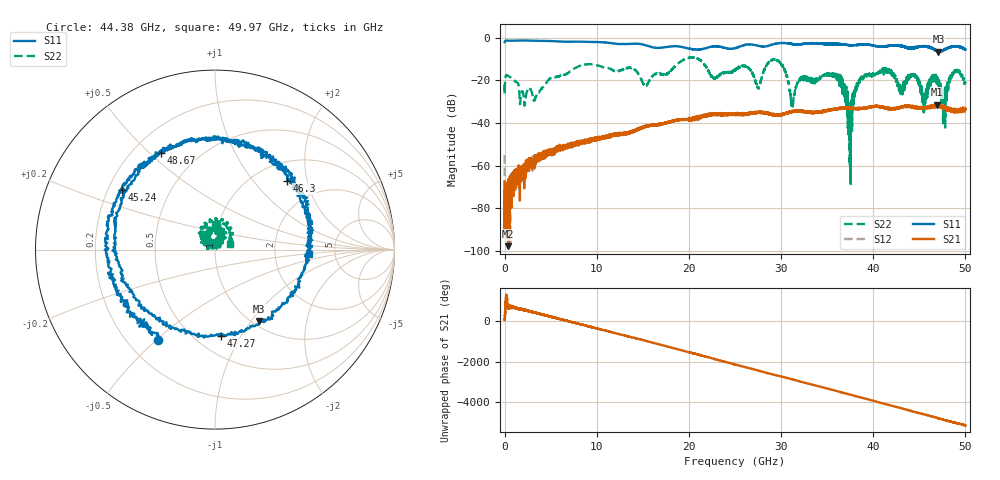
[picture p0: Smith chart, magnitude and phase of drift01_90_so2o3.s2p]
!Created with skrf (http://scikit-rf.org).
# Hz S RI R 50.0
!freq ReS11 ImS11 ReS21 ImS21 ReS12 ImS12 ReS22 ImS22
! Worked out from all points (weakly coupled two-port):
!   10001 points, 300 kHz to 50 GHz, reference 50 ohm
!   highest |S21| = -31.41 dB at 46.94 GHz (marker M1); lowest = -97.8 dB at 400.3 MHz (marker M2)
!   lowest |S11| = -6.6 dB at 47.08 GHz (marker M3), VSWR 2.75, Z = 53.6 - j54.6 ohm
!   |S11| at or under -10 dB: nowhere
!   |S22| runs from -68.7 to -9.2 dB; largest |S21 - S12| = 0.0037
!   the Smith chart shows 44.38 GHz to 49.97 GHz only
!   S11 on the Smith chart (normalised r, x): 44.38 GHz: 0.33, -0.51; 45.24 GHz: 0.26, +0.28; 46.3 GHz: 1.37, +1.52; 47.27 GHz: 0.66, -0.82; 48.67 GHz: 0.31, +0.54; 49.97 GHz: 3.21, -0.24
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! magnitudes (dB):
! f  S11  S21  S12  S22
! 300 kHz  -2.1  -67.5  -55.1  -22.1
! 400.3 MHz  -1.4  -97.8  -70.7  -18.0
! 3.285 GHz  -1.5  -57.3  -55.7  -28.9
! 8.335 GHz  -1.9  -48.8  -48.6  -12.9
! 16.67 GHz  -4.8  -40.7  -40.8  -16.7
! 25 GHz  -5.0  -35.8  -35.9  -15.4
! 29.58 GHz  -2.8  -36.3  -36.5  -10.6
! 31.24 GHz  -3.0  -34.9  -34.8  -31.7
! 33.34 GHz  -2.6  -35.1  -35.2  -19.7
! 36.26 GHz  -3.0  -33.4  -33.4  -18.7
! 37.47 GHz  -3.6  -33.0  -33.0  -33.3
! 38.65 GHz  -3.3  -33.2  -33.2  -19.9
! 41.67 GHz  -3.9  -33.4  -33.2  -15.8
! 44.38 GHz  -4.5  -32.4  -32.6  -17.3
! 45.24 GHz  -4.2  -33.2  -33.2  -23.8
! 46.3 GHz  -5.1  -32.2  -32.2  -19.0
! 46.94 GHz  -6.4  -31.4  -32.2  -19.5
! 47.08 GHz  -6.6  -32.2  -32.1  -22.3
! 47.27 GHz  -6.3  -32.6  -32.8  -23.8
! 48.67 GHz  -4.2  -34.0  -34.2  -16.7
! 49.97 GHz  -5.6  -33.6  -33.5  -21.2
! 50 GHz  -5.6  -33.7  -33.4  -21.6
